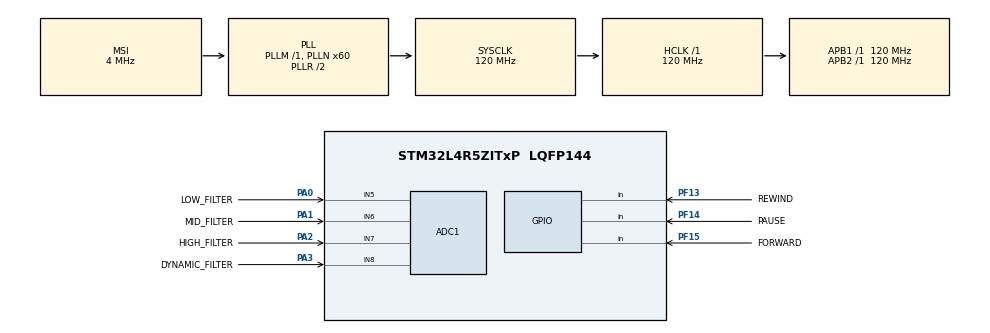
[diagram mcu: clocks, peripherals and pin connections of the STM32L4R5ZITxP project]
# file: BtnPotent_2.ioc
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ADC1.Channel-6\#ChannelRegularConversion=ADC_CHANNEL_5
ADC1.Channel-7\#ChannelRegularConversion=ADC_CHANNEL_6
ADC1.Channel-8\#ChannelRegularConversion=ADC_CHANNEL_7
ADC1.Channel-9\#ChannelRegularConversion=ADC_CHANNEL_8
ADC1.ContinuousConvMode=ENABLE
ADC1.DMAContinuousRequests=ENABLE
ADC1.EOCSelection=ADC_EOC_SINGLE_CONV
ADC1.ExternalTrigConv=ADC_SOFTWARE_START
ADC1.NbrOfConversion=4
ADC1.NbrOfConversionFlag=1
ADC1.OffsetNumber-6\#ChannelRegularConversion=ADC_OFFSET_NONE
ADC1.OffsetNumber-7\#ChannelRegularConversion=ADC_OFFSET_NONE
ADC1.OffsetNumber-8\#ChannelRegularConversion=ADC_OFFSET_NONE
ADC1.OffsetNumber-9\#ChannelRegularConversion=ADC_OFFSET_NONE
ADC1.Rank-6\#ChannelRegularConversion=1
ADC1.Rank-7\#ChannelRegularConversion=2
ADC1.Rank-8\#ChannelRegularConversion=3
ADC1.Rank-9\#ChannelRegularConversion=4
ADC1.SamplingTime-6\#ChannelRegularConversion=ADC_SAMPLETIME_47CYCLES_5
ADC1.SamplingTime-7\#ChannelRegularConversion=ADC_SAMPLETIME_47CYCLES_5
ADC1.SamplingTime-8\#ChannelRegularConversion=ADC_SAMPLETIME_47CYCLES_5
ADC1.SamplingTime-9\#ChannelRegularConversion=ADC_SAMPLETIME_47CYCLES_5
ADC1.master=1
Dma.ADC1.0.Direction=DMA_PERIPH_TO_MEMORY
Dma.ADC1.0.EventEnable=DISABLE
Dma.ADC1.0.Instance=DMA1_Channel1
Dma.ADC1.0.MemDataAlignment=DMA_MDATAALIGN_HALFWORD
Dma.ADC1.0.MemInc=DMA_MINC_ENABLE
Dma.ADC1.0.Mode=DMA_CIRCULAR
Dma.ADC1.0.PeriphDataAlignment=DMA_PDATAALIGN_HALFWORD
Dma.ADC1.0.PeriphInc=DMA_PINC_DISABLE
Dma.ADC1.0.Polarity=HAL_DMAMUX_REQUEST_GEN_RISING
Dma.ADC1.0.Priority=DMA_PRIORITY_LOW
Dma.ADC1.0.RequestNumber=1
Dma.ADC1.0.SignalID=NONE
Dma.ADC1.0.SyncEnable=DISABLE
Dma.ADC1.0.SyncPolarity=HAL_DMAMUX_SYNC_NO_EVENT
Dma.ADC1.0.SyncRequestNumber=1
Dma.ADC1.0.SyncSignalID=NONE
Dma.Request0=ADC1
Mcu.Family=STM32L4
Mcu.Name=STM32L4R5ZITxP
Mcu.Package=LQFP144
NVIC.ADC1_IRQn=true\:0\:0\:false\:false\:true\:true\:true\:true
NVIC.DMA1_Channel1_IRQn=true\:0\:0\:false\:false\:true\:false\:true\:true
NVIC.PriorityGroup=NVIC_PRIORITYGROUP_4
PA0.GPIO_Label=LOW_FILTER
PA0.Signal=ADCx_IN5
PA1.GPIO_Label=MID_FILTER
PA1.Signal=ADCx_IN6
PA2.GPIO_Label=HIGH_FILTER
PA2.Signal=ADCx_IN7
PA3.GPIO_Label=DYNAMIC_FILTER
PA3.Signal=ADCx_IN8
PF13.GPIO_Label=REWIND
PF13.Signal=GPIO_Input
PF14.GPIO_Label=PAUSE
PF14.Signal=GPIO_Input
PF15.GPIO_Label=FORWARD
PF15.Signal=GPIO_Input
ProjectManager.HeapSize=0x200
ProjectManager.StackSize=0x400
ProjectManager.TargetToolchain=STM32CubeIDE
RCC.ADCFreq_Value=32000000
RCC.AHBFreq_Value=120000000
RCC.APB1Freq_Value=120000000
RCC.APB1TimFreq_Value=120000000
RCC.APB2Freq_Value=120000000
RCC.APB2TimFreq_Value=120000000
RCC.CortexFreq_Value=120000000
RCC.HCLKFreq_Value=120000000
RCC.HSE_VALUE=8000000
RCC.HSI48_VALUE=48000000
RCC.HSI_VALUE=16000000
RCC.LSE_VALUE=32768
RCC.MSI_VALUE=4000000
RCC.PLLN=60
RCC.PLLSAI1N=16
RCC.SYSCLKFreq_VALUE=120000000
RCC.SYSCLKSource=RCC_SYSCLKSOURCE_PLLCLK
RCC.USBFreq_Value=32000000
RCC.VCOOutputFreq_Value=240000000
SH.ADCx_IN5.0=ADC1_IN5,IN5-Single-Ended
SH.ADCx_IN6.0=ADC1_IN6,IN6-Single-Ended
SH.ADCx_IN7.0=ADC1_IN7,IN7-Single-Ended
SH.ADCx_IN8.0=ADC1_IN8,IN8-Single-Ended
board=custom

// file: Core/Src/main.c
/* USER CODE BEGIN Header */
/**
  ******************************************************************************
  * @file           : main.c
  * @brief          : Main program body
  ******************************************************************************
  * @attention
  *
  * Copyright (c) 2025 STMicroelectronics.
  * All rights reserved.
  *
  * This software is licensed under terms that can be found in the LICENSE file
  * in the root directory of this software component.
  * If no LICENSE file comes with this software, it is provided AS-IS.
  *
  ******************************************************************************
  */
/* USER CODE END Header */
#include "main.h"

ADC_HandleTypeDef hadc1;
DMA_HandleTypeDef hdma_adc1;

/* USER CODE BEGIN PV */
 uint8_t rewind_flag  = 0;
uint8_t pause_state  = 0;   // 0 = unpaused, 1 = paused
 uint8_t forward_flag = 0;

volatile uint16_t adc_buf[4];
volatile uint32_t adc_irq_count = 0;

int count = 0;
/* USER CODE END PV */

void SystemClock_Config(void);
static void MX_GPIO_Init(void);
static void MX_DMA_Init(void);
static void MX_ADC1_Init(void);

int main(void)
{

  /* MCU Configuration--------------------------------------------------------*/

  /* Reset of all peripherals, Initializes the Flash interface and the Systick. */
  HAL_Init();

  /* Configure the system clock */
  SystemClock_Config();

  /* Initialize all configured peripherals */
  MX_GPIO_Init();
  MX_DMA_Init();
  MX_ADC1_Init();
  /* USER CODE BEGIN 2 */
 HAL_ADCEx_Calibration_Start(&hadc1, ADC_SINGLE_ENDED);
 //HAL_ADC_Start(&hadc1);
 HAL_ADC_Start_DMA(&hadc1, (uint32_t*)adc_buf, 4);
  /* USER CODE END 2 */

  /* Infinite loop */
  /* USER CODE BEGIN WHILE */
    while (1)
    {
    	count++;
    }
    /* USER CODE END WHILE */

}

void SystemClock_Config(void)
{
  RCC_OscInitTypeDef RCC_OscInitStruct = {0};
  RCC_ClkInitTypeDef RCC_ClkInitStruct = {0};

  /** Configure the main internal regulator output voltage
  */
  if (HAL_PWREx_ControlVoltageScaling(PWR_REGULATOR_VOLTAGE_SCALE1_BOOST) != HAL_OK)
  {
    Error_Handler();
  }

  /** Initializes the RCC Oscillators according to the specified parameters
  * in the RCC_OscInitTypeDef structure.
  */
  RCC_OscInitStruct.OscillatorType = RCC_OSCILLATORTYPE_MSI;
  RCC_OscInitStruct.MSIState = RCC_MSI_ON;
  RCC_OscInitStruct.MSICalibrationValue = 0;
  RCC_OscInitStruct.MSIClockRange = RCC_MSIRANGE_6;
  RCC_OscInitStruct.PLL.PLLState = RCC_PLL_ON;
  RCC_OscInitStruct.PLL.PLLSource = RCC_PLLSOURCE_MSI;
  RCC_OscInitStruct.PLL.PLLM = 1;
  RCC_OscInitStruct.PLL.PLLN = 60;
  RCC_OscInitStruct.PLL.PLLP = RCC_PLLP_DIV2;
  RCC_OscInitStruct.PLL.PLLQ = RCC_PLLQ_DIV2;
  RCC_OscInitStruct.PLL.PLLR = RCC_PLLR_DIV2;
  if (HAL_RCC_OscConfig(&RCC_OscInitStruct) != HAL_OK)
  {
    Error_Handler();
  }

  /** Initializes the CPU, AHB and APB buses clocks
  */
  RCC_ClkInitStruct.ClockType = RCC_CLOCKTYPE_HCLK|RCC_CLOCKTYPE_SYSCLK
                              |RCC_CLOCKTYPE_PCLK1|RCC_CLOCKTYPE_PCLK2;
  RCC_ClkInitStruct.SYSCLKSource = RCC_SYSCLKSOURCE_PLLCLK;
  RCC_ClkInitStruct.AHBCLKDivider = RCC_SYSCLK_DIV1;
  RCC_ClkInitStruct.APB1CLKDivider = RCC_HCLK_DIV1;
  RCC_ClkInitStruct.APB2CLKDivider = RCC_HCLK_DIV1;

  if (HAL_RCC_ClockConfig(&RCC_ClkInitStruct, FLASH_LATENCY_5) != HAL_OK)
  {
    Error_Handler();
  }
}

static void MX_ADC1_Init(void)
{

  ADC_ChannelConfTypeDef sConfig = {0};

  /** Common config
  */
  hadc1.Instance = ADC1;
  hadc1.Init.ClockPrescaler = ADC_CLOCK_ASYNC_DIV1;
  hadc1.Init.Resolution = ADC_RESOLUTION_12B;
  hadc1.Init.DataAlign = ADC_DATAALIGN_RIGHT;
  hadc1.Init.ScanConvMode = ADC_SCAN_ENABLE;
  hadc1.Init.EOCSelection = ADC_EOC_SINGLE_CONV;
  hadc1.Init.LowPowerAutoWait = DISABLE;
  hadc1.Init.ContinuousConvMode = ENABLE;
  hadc1.Init.NbrOfConversion = 4;
  hadc1.Init.DiscontinuousConvMode = DISABLE;
  hadc1.Init.ExternalTrigConv = ADC_SOFTWARE_START;
  hadc1.Init.ExternalTrigConvEdge = ADC_EXTERNALTRIGCONVEDGE_NONE;
  hadc1.Init.DMAContinuousRequests = ENABLE;
  hadc1.Init.Overrun = ADC_OVR_DATA_PRESERVED;
  hadc1.Init.OversamplingMode = DISABLE;
  if (HAL_ADC_Init(&hadc1) != HAL_OK)
  {
    Error_Handler();
  }

  /** Configure Regular Channel
  */
  sConfig.Channel = ADC_CHANNEL_5;
  sConfig.Rank = ADC_REGULAR_RANK_1;
  sConfig.SamplingTime = ADC_SAMPLETIME_47CYCLES_5;
  sConfig.SingleDiff = ADC_SINGLE_ENDED;
  sConfig.OffsetNumber = ADC_OFFSET_NONE;
  sConfig.Offset = 0;
  if (HAL_ADC_ConfigChannel(&hadc1, &sConfig) != HAL_OK)
  {
    Error_Handler();
  }

  /** Configure Regular Channel
  */
  sConfig.Channel = ADC_CHANNEL_6;
  sConfig.Rank = ADC_REGULAR_RANK_2;
  if (HAL_ADC_ConfigChannel(&hadc1, &sConfig) != HAL_OK)
  {
    Error_Handler();
  }

  /** Configure Regular Channel
  */
  sConfig.Channel = ADC_CHANNEL_7;
  sConfig.Rank = ADC_REGULAR_RANK_3;
  if (HAL_ADC_ConfigChannel(&hadc1, &sConfig) != HAL_OK)
  {
    Error_Handler();
  }

  /** Configure Regular Channel
  */
  sConfig.Channel = ADC_CHANNEL_8;
  sConfig.Rank = ADC_REGULAR_RANK_4;
  if (HAL_ADC_ConfigChannel(&hadc1, &sConfig) != HAL_OK)
  {
    Error_Handler();
  }

}

static void MX_DMA_Init(void)
{

  /* DMA controller clock enable */
  __HAL_RCC_DMAMUX1_CLK_ENABLE();
  __HAL_RCC_DMA1_CLK_ENABLE();

  /* DMA interrupt init */
  /* DMA1_Channel1_IRQn interrupt configuration */
  HAL_NVIC_SetPriority(DMA1_Channel1_IRQn, 0, 0);
  HAL_NVIC_EnableIRQ(DMA1_Channel1_IRQn);

}

static void MX_GPIO_Init(void)
{
  GPIO_InitTypeDef GPIO_InitStruct = {0};

  /* GPIO Ports Clock Enable */
  __HAL_RCC_GPIOA_CLK_ENABLE();
  __HAL_RCC_GPIOF_CLK_ENABLE();

  /*Configure GPIO pins : REWIND_Pin PAUSE_Pin FORWARD_Pin */
  GPIO_InitStruct.Pin = REWIND_Pin|PAUSE_Pin|FORWARD_Pin;
  GPIO_InitStruct.Mode = GPIO_MODE_INPUT;
  GPIO_InitStruct.Pull = GPIO_NOPULL;
  HAL_GPIO_Init(GPIOF, &GPIO_InitStruct);

}

/* USER CODE BEGIN 4 */
void HAL_GPIO_EXTI_Callback(uint16_t GPIO_Pin)
{
    if (GPIO_Pin == REWIND_Pin)      // Rewind button
        rewind_flag = 1;

    else if (GPIO_Pin == PAUSE_Pin) // Pause/unpause toggle
        pause_state ^= 1;

    else if (GPIO_Pin == FORWARD_Pin) // Forward button
        forward_flag = 1;
}

void HAL_ADC_ConvCpltCallback(ADC_HandleTypeDef *hadc)
{
    if (hadc->Instance == ADC1)
    {

        adc_irq_count++;

        // breakpoint here if debugging
        __NOP();
    }
}

/* USER CODE END 4 */

void Error_Handler(void)
{
  __disable_irq();
  while (1)
  {
  }
}
